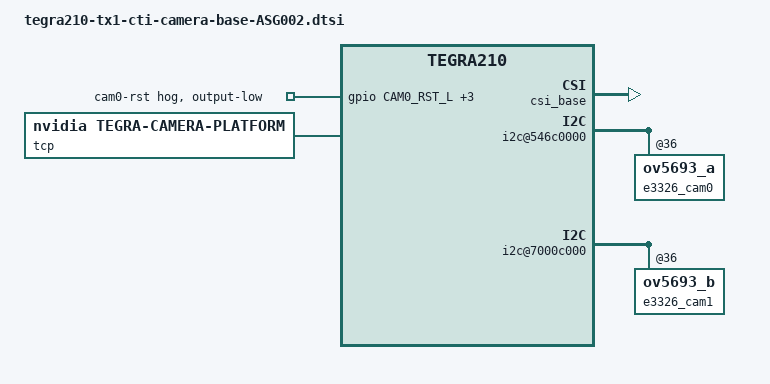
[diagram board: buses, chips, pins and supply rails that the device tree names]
/*
 * Copyright (c) 2016-2017, NVIDIA CORPORATION.  All rights reserved.
 *
 * This program is free software; you can redistribute it and/or modify
 * it under the terms of the GNU General Public License as published by
 * the Free Software Foundation; version 2 of the License.
 *
 * This program is distributed in the hope that it will be useful, but WITHOUT
 * ANY WARRANTY; without even the implied warranty of MERCHANTABILITY or
 * FITNESS FOR A PARTICULAR PURPOSE.  See the GNU General Public License for
 * more details.
 *
 */

#define CAM0_RST_L	TEGRA_GPIO(S, 4)
#define CAM0_PWDN	TEGRA_GPIO(S, 7)
#define CAM1_RST_L	TEGRA_GPIO(S, 5)
#define CAM1_PWDN	TEGRA_GPIO(T, 0)

/ {
	/* set camera gpio direction to output */
	gpio: gpio@6000d000 {
		camera-control-output-low {
			gpio-hog;
			output-low;
			gpios = <CAM0_RST_L 0 CAM0_PWDN 0
				CAM1_RST_L 0 CAM1_PWDN 0>;
			label = "cam0-rst", "cam0-pwdn",
				"cam1-rst", "cam1-pwdn";
        };
	};

	/* all cameras are disabled by default */
	host1x {
		vi_base: vi {
            status = "okay";
			ports {
				vi_port0: port@0 {
					status = "okay";
					vi_in0: endpoint {
						status = "okay";
					};
				};
                vi_port1: port@1 {
					status = "okay";
					vi_in1: endpoint {
						status = "okay";
					};
				};	                
			};
		};
		csi_base: nvcsi {
            status = "okay";
			csi_chan0: channel@0 {
				status = "okay";
				ports {
					csi_chan0_port0: port@0 {
						status = "okay";
						csi_in0: endpoint@0 {
							status = "okay";
						};
					};
					csi_chan0_port1: port@1 {
						status = "okay";
						csi_out0: endpoint@1 {
							status = "okay";
						};
					};
				};
			};
			csi_chan1: channel@1 {
				status = "okay";
				ports {
					csi_chan1_port0: port@0 {
						status = "okay";
						csi_in1: endpoint@2 {
							status = "okay";
						};
					};
					csi_chan1_port1: port@1 {
						status = "okay";
						csi_out1: endpoint@3 {
							status = "okay";
						};
					};
				};
			};
			csi_chan2: channel@2 {
				status = "disabled";
				ports {
					csi_chan2_port0: port@0 {
						status = "disabled";
						csi_in2: endpoint@4 {
							status = "disabled";
						};
					};
					csi_chan2_port1: port@1 {
						status = "disabled";
						csi_out2: endpoint@5 {
							status = "disabled";
						};
					};
				};
			};
			csi_chan3: channel@3 {
				status = "disabled";
				ports {
					csi_chan3_port0: port@0 {
						status = "disabled";
						csi_in3: endpoint@6 {
							status = "disabled";
						};
					};
					csi_chan3_port1: port@1 {
						status = "disabled";
						csi_out3: endpoint@7 {
							status = "disabled";
						};
					};
				};
			};
			csi_chan4: channel@4 {
				status = "disabled";
				ports {
					csi_chan4_port0: port@0 {
						status = "disabled";
						csi_in4: endpoint@8 {
							status = "disabled";
						};
					};
					csi_chan4_port1: port@1 {
						status = "disabled";
						csi_out4: endpoint@9 {
							status = "disabled";
						};
					};
				};
			};
			csi_chan5: channel@5 {
				status = "disabled";
				ports {
					csi_chan5_port0: port@0 {
						status = "disabled";
						csi_in5: endpoint@10 {
							status = "disabled";
						};
					};
					csi_chan5_port1: port@1 {
						status = "disabled";
						csi_out5: endpoint@11 {
							status = "disabled";
						};
					};
				};
			};
		};

		i2c@546c0000 {
			e3326_cam0: ov5693_a@36 {
				status = "okay";
			};
		};
	};
	i2c@7000c000 {
        e3326_cam1: ov5693_b@36 {
				status = "okay";
		};
	};

	tcp: tegra-camera-platform {
		compatible = "nvidia, tegra-camera-platform";
		num_csi_lanes = <2>;
		max_lane_speed = <1500000>;
		min_bits_per_pixel = <10>;
		vi_peak_byte_per_pixel = <2>;
		vi_bw_margin_pct = <25>;
		max_pixel_rate = <408000>;
		isp_peak_byte_per_pixel = <2>;
		isp_bw_margin_pct = <25>;
		modules {
			cam_module0: module0 {
				status = "okay";
				cam_module0_drivernode0: drivernode0 {
					status = "okay";
				};
				cam_module0_drivernode1: drivernode1 {
					status = "okay";
					pcl_id = "v4l2_lens";
				};
			};
			cam_module1: module1 {
				status = "okay";
				cam_module1_drivernode0: drivernode0 {
					status = "okay";
				};
				cam_module1_drivernode1: drivernode1 {
					status = "okay";
					pcl_id = "v4l2_lens";
				};
			};
			cam_module2: module2 {
				status = "disabled";
				cam_module2_drivernode0: drivernode0 {
					status = "disabled";
				};
				cam_module2_drivernode1: drivernode1 {
					status = "disabled";
					pcl_id = "v4l2_lens";
				};
			};
			cam_module3: module3 {
				status = "disabled";
				cam_module3_drivernode0: drivernode0 {
					status = "disabled";
				};
				cam_module3_drivernode1: drivernode1 {
					status = "disabled";
					pcl_id = "v4l2_lens";
				};
			};
			cam_module4: module4 {
				status = "disabled";
				cam_module4_drivernode0: drivernode0 {
					status = "disabled";
				};
				cam_module4_drivernode1: drivernode1 {
					status = "disabled";
					pcl_id = "v4l2_lens";
				};
			};
			cam_module5: module5 {
				status = "disabled";
				cam_module5_drivernode0: drivernode0 {
					status = "disabled";
				};
				cam_module5_drivernode1: drivernode1 {
					status = "disabled";
					pcl_id = "v4l2_lens";
				};
			};
		};
	};
};
